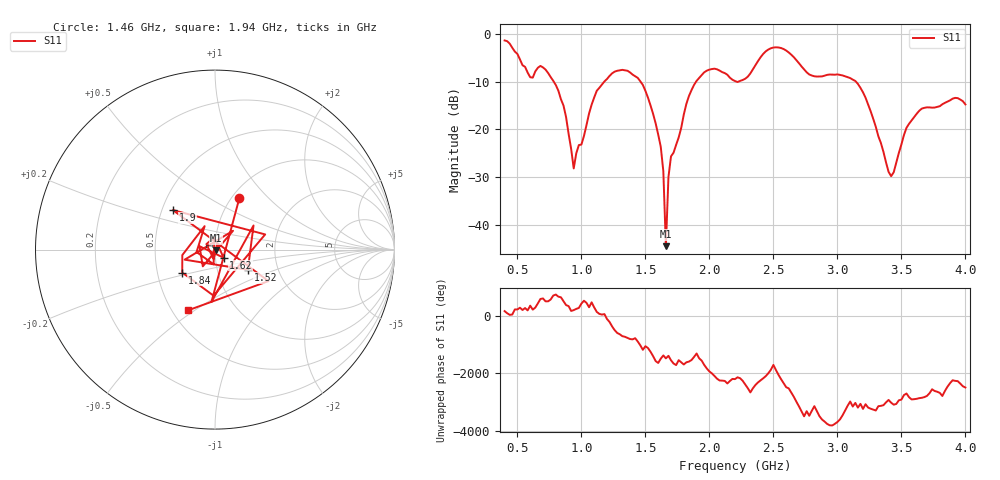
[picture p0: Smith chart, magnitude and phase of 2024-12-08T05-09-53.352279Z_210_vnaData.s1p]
!Created with skrf (http://scikit-rf.org).
# Hz S RI R 50.0
!freq ReS11 ImS11
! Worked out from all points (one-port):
!   181 points, 400 MHz to 4 GHz, reference 50 ohm
!   lowest |S11| = -44.5 dB at 1.66 GHz (marker M1), VSWR 1.01, Z = 50.5 - j0.323 ohm
!   |S11| at or under -10 dB: 783.7 MHz to 1.179 GHz (395.2 MHz wide, 40.3 % of centre); 1.462 GHz to 1.896 GHz (434.4 MHz wide, 25.9 % of centre); 3.144 GHz to end of sweep (the widest 3 of 4)
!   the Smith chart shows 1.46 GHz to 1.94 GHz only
!   S11 on the Smith chart (normalised r, x): 1.46 GHz: 1.08, +0.70; 1.52 GHz: 1.40, -0.33; 1.62 GHz: 1.10, -0.10; 1.84 GHz: 0.67, -0.18; 1.9 GHz: 0.57, +0.28; 1.94 GHz: 0.60, -0.47
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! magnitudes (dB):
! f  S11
! 400 MHz  -1.4
! 600 MHz  -9.1
! 720 MHz  -7.5
! 860 MHz  -15.0
! 940 MHz  -28.2
! 1.12 GHz  -11.9
! 1.3 GHz  -7.6
! 1.46 GHz  -9.9
! 1.52 GHz  -13.4
! 1.62 GHz  -23.7
! 1.64 GHz  -28.8
! 1.66 GHz  -44.5
! 1.68 GHz  -30.0
! 1.7 GHz  -25.7
! 1.76 GHz  -21.7
! 1.84 GHz  -13.0
! 1.9 GHz  -9.8
! 1.94 GHz  -8.6
! 2.2 GHz  -9.9
! 2.48 GHz  -3.0
! 2.66 GHz  -4.9
! 2.8 GHz  -8.7
! 3.1 GHz  -9.3
! 3.22 GHz  -13.4
! 3.42 GHz  -29.8
! 3.56 GHz  -18.8
! 3.66 GHz  -15.7
! 4 GHz  -14.8
